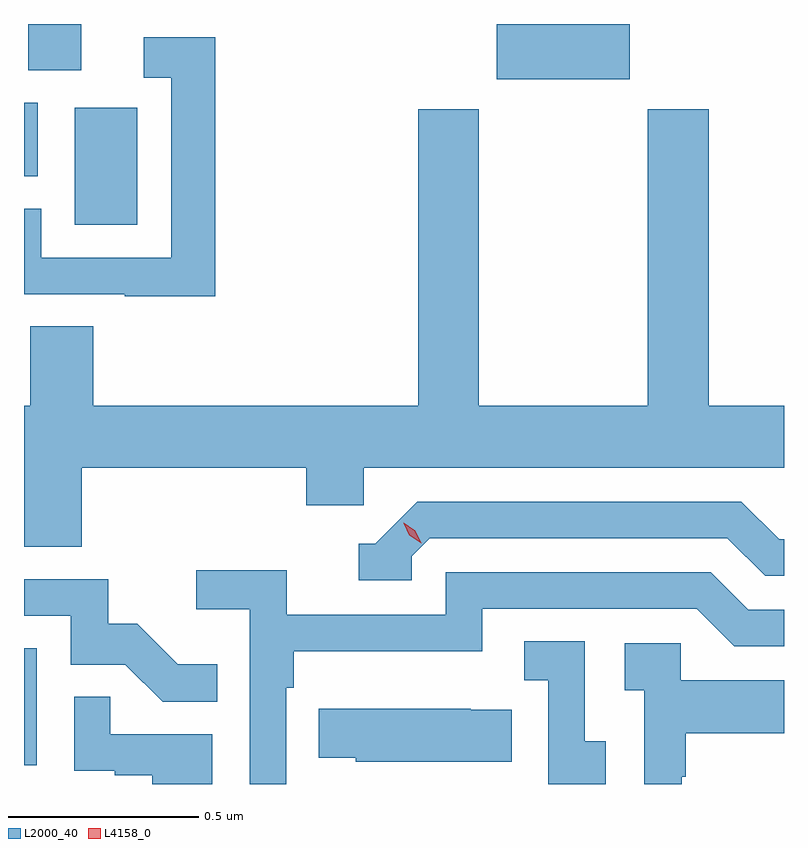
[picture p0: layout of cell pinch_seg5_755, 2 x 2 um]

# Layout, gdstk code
import gdstk
lib = gdstk.Library(unit=1e-6, precision=1e-09)
def R(c, l, rs):  # rectangles x0, y0, x1, y1
    for r in rs: c.add(gdstk.rectangle(r[:2], r[2:], *l))
def P(c, l, *ps):  # polygons
    for p in ps: c.add(gdstk.Polygon(p, *l))
L2000_40 = (2000, 40)
L4158_0 = (4158, 0)

pinch_seg5_755 = lib.new_cell('pinch_seg5_755')
R(pinch_seg5_755, L2000_40, [(880.956,913.254,880.99,913.561), (881.09,914.676,881.254,914.983), (880.956,914.803,880.992,914.997), (882.2,915.059,882.55,915.204), (880.967,915.082,881.107,915.204)])
P(pinch_seg5_755, L2000_40, [(881.459,915.169),(881.271,915.169),(881.271,915.063),(881.343,915.063),(881.343,914.589),(881.001,914.589),(881.001,914.718),(880.956,914.718),(880.956,914.493),(881.221,914.493),(881.221,914.488),(881.459,914.488)],
  [(881.108,914.036),(881.699,914.036),(881.699,913.938),(881.85,913.938),(881.85,914.036),(882.956,914.036),(882.956,914.2),(882.758,914.2),(882.758,914.98),(882.598,914.98),(882.598,914.2),(882.153,914.2),(882.153,914.98),(881.993,914.98),(881.993,914.2),(881.138,914.2),(881.138,914.408),(880.973,914.408),(880.973,914.2),(880.956,914.2),(880.956,913.828),(881.108,913.828)],
  [(881.976,913.803),(882.024,913.851),(882.807,913.851),(882.906,913.752),(882.956,913.752),(882.956,913.848),(882.943,913.848),(882.844,913.947),(881.991,913.947),(881.88,913.836),(881.837,913.836),(881.837,913.74),(881.976,913.74)],
  [(881.646,913.457),(881.666,913.457),(881.666,913.553),(882.162,913.553),(882.162,913.665),(882.726,913.665),(882.825,913.566),(882.956,913.566),(882.956,913.662),(882.862,913.662),(882.763,913.761),(882.066,913.761),(882.066,913.65),(881.648,913.65),(881.648,913.766),(881.409,913.766),(881.409,913.664),(881.55,913.664),(881.55,913.204),(881.646,913.204)],
  [(881.465,913.519),(881.361,913.519),(881.254,913.626),(881.178,913.626),(881.178,913.743),(880.956,913.743),(880.956,913.647),(881.079,913.647),(881.079,913.518),(881.223,913.518),(881.321,913.42),(881.465,913.42)],
  [(882.487,913.317),(882.432,913.317),(882.432,913.58),(882.273,913.58),(882.273,913.477),(882.336,913.477),(882.336,913.204),(882.487,913.204)],
  [(882.687,913.223),(882.697,913.223),(882.697,913.337),(882.956,913.337),(882.956,913.477),(882.684,913.477),(882.684,913.575),(882.537,913.575),(882.537,913.451),(882.588,913.451),(882.588,913.204),(882.687,913.204)],
  [(881.452,913.335),(881.183,913.335),(881.183,913.433),(881.088,913.433),(881.088,913.239),(881.195,913.239),(881.195,913.227),(881.294,913.227),(881.294,913.204),(881.452,913.204)],
  [(882.239,913.399),(882.131,913.399),(882.131,913.402),(881.731,913.402),(881.731,913.273),(881.829,913.273),(881.829,913.262),(882.239,913.262)])
P(pinch_seg5_755, L4158_0, [(882.001,913.838),(881.97,913.858),(881.955,913.89),(881.955,913.891),(881.955,913.891),(881.985,913.871),(882.001,913.838),(882.001,913.838)])

lib.write_gds('pinch_seg5_755.gds')
